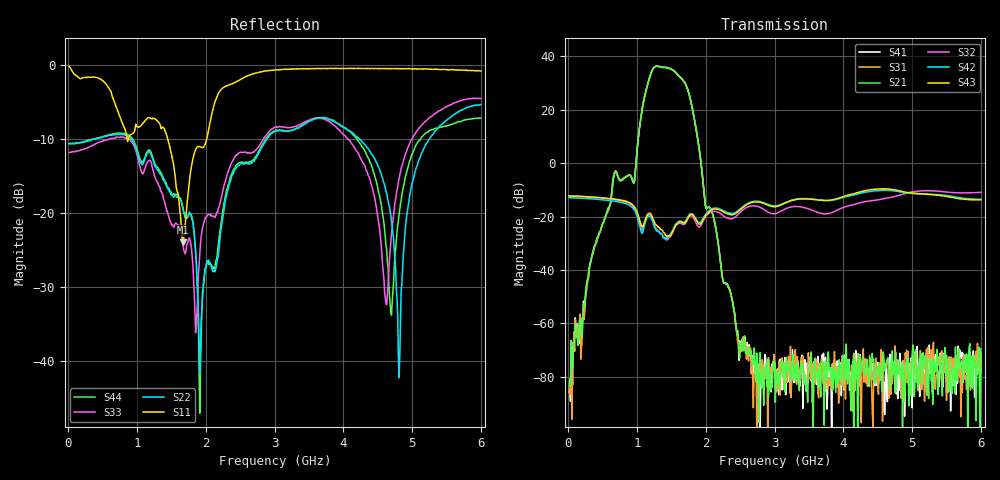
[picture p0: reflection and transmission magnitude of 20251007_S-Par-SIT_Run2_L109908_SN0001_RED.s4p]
!Keysight Technologies,P5024B,MY61400385,A.19.30.21
!Date: Tuesday, October 07, 2025 13:39:14
!Correction: S11(C  4-Port  )
!S12(C  4-Port  )
!S13(C  4-Port  )
!S14(C  4-Port  )
!S21(C  4-Port  )
!S22(C  4-Port  )
!S23(C  4-Port  )
!S24(C  4-Port  )
!S31(C  4-Port  )
!S32(C  4-Port  )
!S33(C  4-Port  )
!S34(C  4-Port  )
!S41(C  4-Port  )
!S42(C  4-Port  )
!S43(C  4-Port  )
!S44(C  4-Port  )
!S4P File: Measurements: <S11,S12,S13,S14>,
!<S21,S22,S23,S24>,
!<S31,S32,S33,S34>,
!<S41,S42,S43,S44>:
# Hz S  dB  R 50
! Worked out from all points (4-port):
!   600 points, 10 MHz to 6 GHz, reference 50 ohm
!   strongest paths, dB at 10 MHz, 1.51 GHz, 3.01 GHz, 4.51 GHz, 6 GHz:
!     S43: -12.3, -25.8, -16.3, -9.7, -13.7
!     S42: -13.0, -25.5, -16.0, -10.3, -13.5
!     S32: -12.3, -26.3, -18.9, -13.7, -10.9
!     S21: -83.8, 35.0, -89.6, -79.7, -69.4
!     S31: -84.5, 35.0, -84.2, -86.5, -71.2
!     S41: -85.8, 35.0, -77.6, -82.6, -74.0
!   lowest |S11| = -23.9 dB at 1.67 GHz (marker M1), VSWR 1.14, Z = 50.7 + j6.37 ohm
!   |S11| at or under -10 dB: 853.9 MHz to 871.4 MHz (17.48 MHz wide, 2.03 % of centre); 1.445 GHz to 2.011 GHz (566.6 MHz wide, 32.8 % of centre)
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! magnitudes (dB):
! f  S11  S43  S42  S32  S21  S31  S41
! 10 MHz  -0.1  -12.3  -13.0  -12.3  -83.8  -84.5  -85.8
! 1.2 GHz  -7.2  -19.1  -20.4  -19.8  33.5  33.6  33.5
! 1.67 GHz  -23.9  -22.4  -22.1  -23.0  30.9  30.9  30.9
! 1.92 GHz  -11.1  -22.7  -22.1  -23.5  1.8  1.9  1.9
! 2.71 GHz  -1.1  -14.5  -14.3  -16.0  -71.0  -78.4  -76.8
! 4.81 GHz  -0.5  -10.3  -10.7  -12.1  -74.1  -77.9  -85.2
! 6 GHz  -0.8  -13.7  -13.5  -10.9  -69.4  -71.2  -74.0
